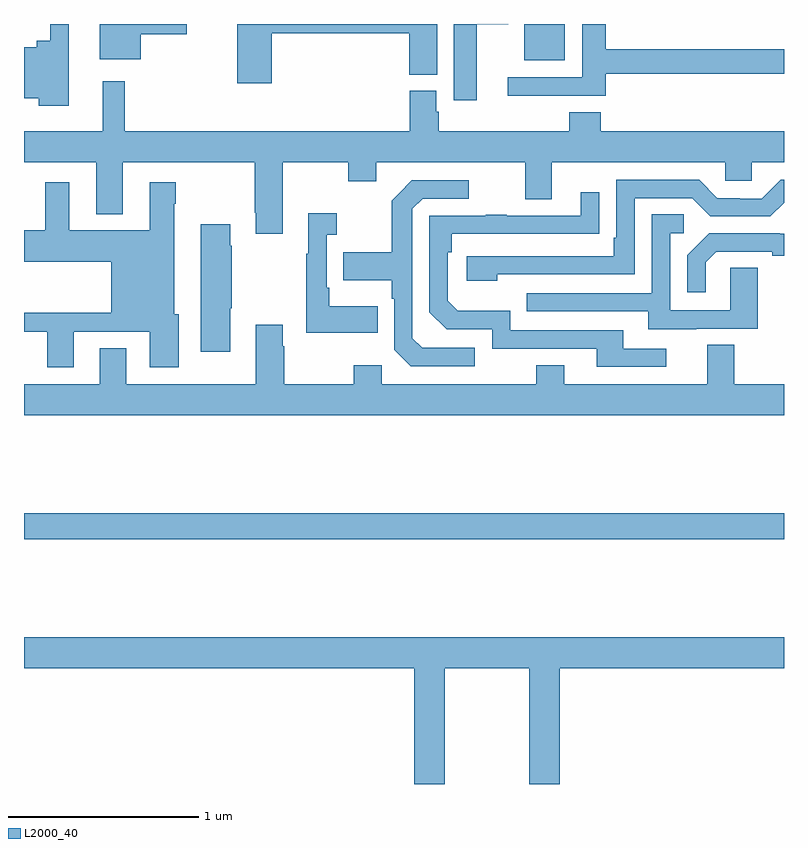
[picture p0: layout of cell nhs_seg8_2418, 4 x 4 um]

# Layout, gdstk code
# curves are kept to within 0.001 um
import gdstk
lib = gdstk.Library(unit=1e-6, precision=1e-09)
def R(c, l, rs):  # rectangles x0, y0, x1, y1
    for r in rs: c.add(gdstk.rectangle(r[:2], r[2:], *l))
def P(c, l, *ps):  # polygons
    for p in ps: c.add(gdstk.Polygon(p, *l))
L2000_40 = (2000, 40)

nhs_seg8_2418 = lib.new_cell('nhs_seg8_2418')
R(nhs_seg8_2418, L2000_40, [(263,1109.188,267,1109.324), (265.634,1111.709,265.846,1111.9)])
P(nhs_seg8_2418, L2000_40, [(263.236,1111.9),(263.139,1111.9),(263.139,1111.813),(263.066,1111.813),(263.066,1111.777),(263,1111.777),(263,1111.508),(263.078,1111.508),(263.078,1111.469),(263.236,1111.469)],
  [(264.305,1111.852),(265.028,1111.852),(265.028,1111.633),(265.174,1111.633),(265.174,1111.9),(264.122,1111.9),(264.122,1111.587),(264.305,1111.587)],
  [(263.614,1111.847),(263.857,1111.847),(263.857,1111.9),(263.399,1111.9),(263.399,1111.715),(263.614,1111.715)],
  [(266.063,1111.638),(267,1111.638),(267,1111.766),(266.063,1111.766),(266.063,1111.9),(265.937,1111.9),(265.937,1111.62),(265.545,1111.62),(265.545,1111.523),(266.063,1111.523)],
  [(265.384,1111.898),(265.549,1111.898),(265.549,1111.9),(265.262,1111.9),(265.262,1111.5),(265.384,1111.5)],
  [(265.184,1111.437),(265.171,1111.437),(265.171,1111.548),(265.031,1111.548),(265.031,1111.336),(263.531,1111.336),(263.531,1111.6),(263.414,1111.6),(263.414,1111.336),(263,1111.336),(263,1111.172),(263.381,1111.172),(263.381,1110.899),(263.521,1110.899),(263.521,1111.172),(264.214,1111.172),(264.214,1110.907),(264.221,1110.907),(264.221,1110.795),(264.361,1110.795),(264.361,1111.172),(264.706,1111.172),(264.706,1111.073),(264.853,1111.073),(264.853,1111.172),(265.637,1111.172),(265.637,1110.978),(265.777,1110.978),(265.777,1111.172),(266.691,1111.172),(266.691,1111.074),(266.829,1111.074),(266.829,1111.172),(267,1111.172),(267,1111.336),(266.036,1111.336),(266.036,1111.435),(265.871,1111.435),(265.871,1111.336),(265.184,1111.336)],
  [(265.49,1110.582),(266.214,1110.582),(266.214,1110.984),(266.517,1110.984),(266.613,1110.888),(266.928,1110.888),(267,1110.96),(267,1111.081),(266.983,1111.081),(266.883,1110.981),(266.768,1110.981),(266.768,1110.984),(266.649,1110.984),(266.553,1111.08),(266.118,1111.08),(266.118,1110.775),(266.105,1110.775),(266.105,1110.678),(265.329,1110.678),(265.329,1110.548),(265.49,1110.548)],
  [(265.372,1110.195),(265.095,1110.195),(265.044,1110.246),(265.044,1110.927),(265.098,1110.981),(265.342,1110.981),(265.342,1111.077),(265.041,1111.077),(264.936,1110.971),(264.936,1110.699),(264.679,1110.699),(264.679,1110.551),(264.936,1110.551),(264.936,1110.455),(264.948,1110.455),(264.948,1110.186),(265.035,1110.099),(265.372,1110.099)],
  [(263.263,1110.279),(263.663,1110.279),(263.663,1110.093),(263.815,1110.093),(263.815,1110.372),(263.791,1110.372),(263.791,1110.953),(263.799,1110.953),(263.799,1111.066),(263.663,1111.066),(263.663,1110.814),(263.239,1110.814),(263.239,1111.066),(263.111,1111.066),(263.111,1110.814),(263,1110.814),(263,1110.65),(263.459,1110.65),(263.459,1110.38),(263,1110.38),(263,1110.279),(263.123,1110.279),(263.123,1110.093),(263.263,1110.093)],
  [(266.38,1110.192),(266.155,1110.192),(266.155,1110.288),(265.56,1110.288),(265.56,1110.391),(265.283,1110.391),(265.23,1110.444),(265.23,1110.698),(265.25,1110.698),(265.25,1110.795),(266.027,1110.796),(266.027,1111.015),(265.931,1111.015),(265.931,1110.891),(265.541,1110.891),(265.541,1110.896),(265.429,1110.896),(265.429,1110.891),(265.134,1110.891),(265.134,1110.384),(265.224,1110.294),(265.464,1110.294),(265.464,1110.192),(266.015,1110.192),(266.015,1110.096),(266.38,1110.096)],
  [(264.863,1110.415),(264.607,1110.415),(264.607,1110.511),(264.594,1110.511),(264.594,1110.791),(264.646,1110.791),(264.646,1110.904),(264.497,1110.904),(264.497,1110.691),(264.486,1110.691),(264.486,1110.275),(264.863,1110.275)],
  [(266.539,1110.297),(266.863,1110.297),(266.863,1110.617),(266.718,1110.617),(266.718,1110.393),(266.4,1110.393),(266.4,1110.798),(266.473,1110.798),(266.473,1110.899),(266.304,1110.899),(266.304,1110.483),(265.645,1110.483),(265.645,1110.387),(266.285,1110.387),(266.285,1110.293),(266.539,1110.293)],
  [(264.085,1110.403),(264.093,1110.403),(264.093,1110.734),(264.085,1110.734),(264.085,1110.847),(263.93,1110.847),(263.93,1110.176),(264.085,1110.176)],
  [(266.587,1110.645),(266.644,1110.702),(266.939,1110.702),(266.939,1110.68),(267,1110.68),(267,1110.795),(266.978,1110.795),(266.978,1110.798),(266.606,1110.798),(266.49,1110.682),(266.49,1110.489),(266.587,1110.489)],
  [(267,1110.004),(266.737,1110.004),(266.737,1110.212),(266.597,1110.212),(266.597,1110.004),(265.843,1110.004),(265.843,1110.103),(265.696,1110.103),(265.696,1110.004),(264.882,1110.004),(264.882,1110.103),(264.736,1110.103),(264.736,1110.004),(264.369,1110.004),(264.369,1110.203),(264.361,1110.203),(264.361,1110.316),(264.221,1110.316),(264.221,1110.004),(263.539,1110.004),(263.539,1110.194),(263.399,1110.194),(263.399,1110.004),(263,1110.004),(263,1109.84),(267,1109.84)],
  [(265.215,1108.508),(265.66,1108.508),(265.66,1107.9),(265.82,1107.9),(265.82,1108.508),(267,1108.508),(267,1108.672),(263,1108.672),(263,1108.508),(265.055,1108.508),(265.055,1107.9),(265.215,1107.9)])

lib.write_gds('nhs_seg8_2418.gds')
